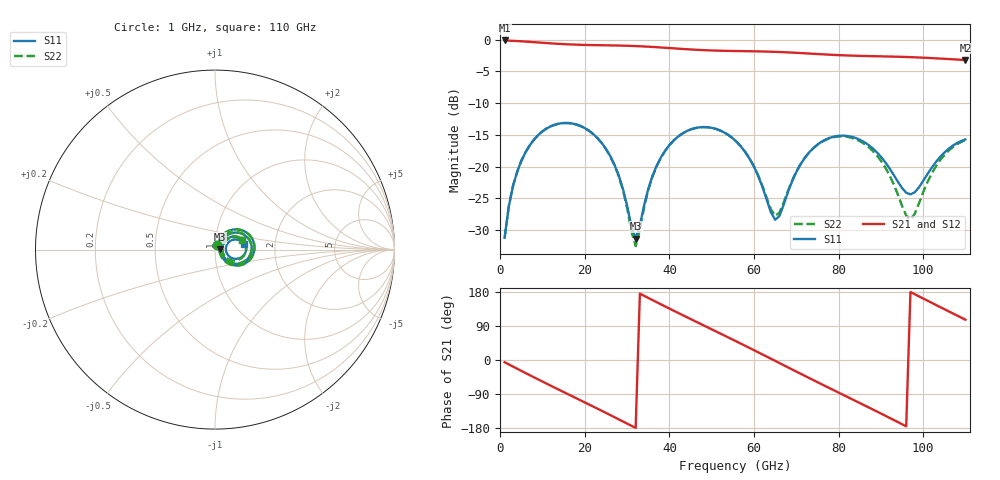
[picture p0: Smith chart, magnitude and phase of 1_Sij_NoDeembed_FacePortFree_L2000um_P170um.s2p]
! Touchstone file exported from HFSS 2024.2.0
!  File:  C:/Users/vaintrug/Documents/Ansoft_Workspace/Comparaison_Calculs_HFSS/1_VarPort.aedt
!  Generated:  03:22:18 PM Jan 21, 2025
!  Design:  1_NoDeembed_FacePortFree
!  Project:  1_VarPort
!  Setup:  Setup1
!  Solution:  Sweep
! Variables:
!  $Lenght = 2000um
!  $PortSize = 170um
!  Gap = 30um
!  Th = 2um
!  X_centralStrip = 20um
!  X_masse = 200um
!  Y_Sub = 2mm
!  Z_Box = 400um
!  Z_Sub = 200um
# GHz S MA R 50.000000
! Terminal data exported
! Port[1] = 1
! Port[2] = 2
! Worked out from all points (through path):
!   110 points, 1 GHz to 110 GHz, reference 50 ohm
!   highest |S21| = -0.13 dB at 1 GHz (marker M1); lowest = -3.2 dB at 110 GHz (marker M2)
!   group delay of S21, straight-line fit = 15.5 ps
!   lowest |S11| = -31.3 dB at 32 GHz (marker M3), VSWR 1.06, Z = 52.8 + j0.186 ohm
!   |S11| at or under -10 dB: start of sweep to end of sweep
!   |S22| runs from -32.5 to -13.1 dB; largest |S21 - S12| = 2e-15
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1  0.02747 61.0  0.9854 -5.9  0.9854 -5.9  0.02747 61.0
! Gamma 5.72898137110062 49.7449296664451 5.90774623023829 49.9941456790263
! Port Impedance 50 0 50 0
3  0.07053 65.7  0.9783 -17.4  0.9783 -17.4  0.07052 65.6
7  0.1482 48.7  0.9601 -40.3  0.9601 -40.3  0.1481 48.6
13  0.2144 18.0  0.93 -73.8  0.93 -73.8  0.2143 17.8
20  0.2008 -17.0  0.9088 -112.1  0.9088 -112.1  0.2005 -17.4
27  0.1032 -46.1  0.8999 -151.0  0.8999 -151.0  0.1024 -47.6
32  0.02712 3.7  0.8899 -179.3  0.8899 -179.3  0.02361 4.3
35  0.06703 52.4  0.8799 163.7  0.8799 163.7  0.06576 55.5
38  0.1185 47.4  0.8675 146.8  0.8675 146.8  0.1179 49.3
43  0.1818 26.9  0.8452 119.0  0.8452 119.0  0.1815 28.2
47  0.2037 8.8  0.8301 97.2  0.8301 97.2  0.2035 9.8
51  0.198 -9.3  0.8199 75.4  0.8199 75.4  0.198 -8.3
56  0.1552 -30.2  0.8131 48.1  0.8131 48.1  0.1554 -29.1
60  0.09947 -41.7  0.8092 25.8  0.8092 25.8  0.1002 -40.3
65  0.0381 -4.2  0.8013 -2.3  0.8013 -2.3  0.04086 -4.0
74  0.1395 31.2  0.7739 -52.9  0.7739 -52.9  0.1393 29.0
79  0.1726 12.0  0.758 -80.5  0.758 -80.5  0.171 9.4
83  0.172 -3.8  0.7486 -102.5  0.7486 -102.5  0.1689 -7.3
92  0.0974 -26.6  0.7362 -152.4  0.7362 -152.4  0.08617 -35.8
97  0.06038 2.1  0.728 179.4  0.728 179.4  0.03843 5.8
104  0.1189 27.9  0.7095 139.8  0.7095 139.8  0.1121 39.9
110  0.1637 10.5  0.6915 106.3  0.6915 106.3  0.1616 19.3
